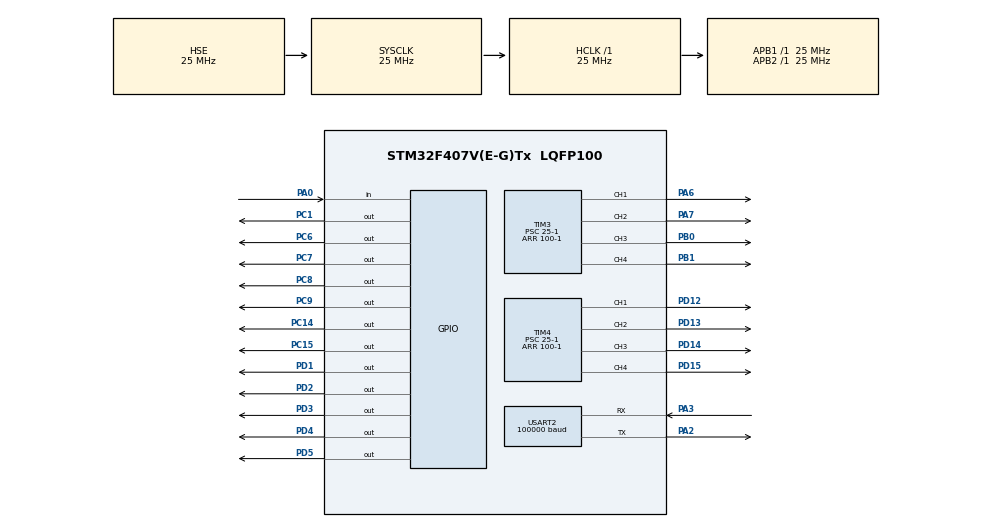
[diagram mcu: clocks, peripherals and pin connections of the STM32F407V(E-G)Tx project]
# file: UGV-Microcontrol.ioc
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Mcu.Family=STM32F4
Mcu.Name=STM32F407V(E-G)Tx
Mcu.Package=LQFP100
NVIC.PriorityGroup=NVIC_PRIORITYGROUP_4
PA0-WKUP.GPIO_PuPd=GPIO_PULLDOWN
PA0-WKUP.Signal=GPIO_Input
PA13.Mode=Serial_Wire
PA13.Signal=SYS_JTMS-SWDIO
PA14.Mode=Serial_Wire
PA14.Signal=SYS_JTCK-SWCLK
PA2.GPIO_PuPd=GPIO_PULLDOWN
PA2.Mode=Asynchronous
PA2.Signal=USART2_TX
PA3.GPIO_PuPd=GPIO_PULLDOWN
PA3.Mode=Asynchronous
PA3.Signal=USART2_RX
PA6.GPIO_ModeDefaultPP=GPIO_MODE_AF_OD
PA6.GPIO_PuPd=GPIO_PULLDOWN
PA6.Signal=S_TIM3_CH1
PA7.GPIO_ModeDefaultPP=GPIO_MODE_AF_OD
PA7.GPIO_PuPd=GPIO_PULLDOWN
PA7.Signal=S_TIM3_CH2
PB0.GPIO_ModeDefaultPP=GPIO_MODE_AF_OD
PB0.GPIO_PuPd=GPIO_PULLDOWN
PB0.Signal=S_TIM3_CH3
PB1.GPIO_ModeDefaultPP=GPIO_MODE_AF_OD
PB1.GPIO_PuPd=GPIO_PULLDOWN
PB1.Signal=S_TIM3_CH4
PC1.GPIO_PuPd=GPIO_PULLDOWN
PC1.Signal=GPIO_Output
PC14-OSC32_IN.GPIO_PuPd=GPIO_PULLDOWN
PC14-OSC32_IN.Signal=GPIO_Output
PC15-OSC32_OUT.GPIO_PuPd=GPIO_PULLDOWN
PC15-OSC32_OUT.Signal=GPIO_Output
PC6.GPIO_ModeDefaultOutputPP=GPIO_MODE_OUTPUT_PP
PC6.GPIO_PuPd=GPIO_PULLDOWN
PC6.Signal=GPIO_Output
PC7.GPIO_ModeDefaultOutputPP=GPIO_MODE_OUTPUT_PP
PC7.GPIO_PuPd=GPIO_PULLDOWN
PC7.Signal=GPIO_Output
PC8.GPIO_ModeDefaultOutputPP=GPIO_MODE_OUTPUT_PP
PC8.GPIO_PuPd=GPIO_PULLDOWN
PC8.Signal=GPIO_Output
PC9.GPIO_ModeDefaultOutputPP=GPIO_MODE_OUTPUT_PP
PC9.GPIO_PuPd=GPIO_PULLDOWN
PC9.Signal=GPIO_Output
PD1.GPIO_ModeDefaultOutputPP=GPIO_MODE_OUTPUT_PP
PD1.GPIO_PuPd=GPIO_PULLDOWN
PD1.Signal=GPIO_Output
PD12.GPIO_ModeDefaultPP=GPIO_MODE_AF_OD
PD12.GPIO_PuPd=GPIO_PULLDOWN
PD12.Signal=S_TIM4_CH1
PD13.GPIO_ModeDefaultPP=GPIO_MODE_AF_OD
PD13.GPIO_PuPd=GPIO_PULLDOWN
PD13.Signal=S_TIM4_CH2
PD14.GPIO_ModeDefaultPP=GPIO_MODE_AF_OD
PD14.GPIO_PuPd=GPIO_PULLDOWN
PD14.Signal=S_TIM4_CH3
PD15.GPIO_ModeDefaultPP=GPIO_MODE_AF_OD
PD15.GPIO_PuPd=GPIO_PULLDOWN
PD15.Signal=S_TIM4_CH4
PD2.GPIO_ModeDefaultOutputPP=GPIO_MODE_OUTPUT_PP
PD2.GPIO_PuPd=GPIO_PULLDOWN
PD2.Signal=GPIO_Output
PD3.GPIO_ModeDefaultOutputPP=GPIO_MODE_OUTPUT_PP
PD3.GPIO_PuPd=GPIO_PULLDOWN
PD3.Signal=GPIO_Output
PD4.GPIO_ModeDefaultOutputPP=GPIO_MODE_OUTPUT_PP
PD4.GPIO_PuPd=GPIO_PULLDOWN
PD4.Signal=GPIO_Output
PD5.GPIO_PuPd=GPIO_PULLDOWN
PD5.Signal=GPIO_Output
PH0-OSC_IN.Mode=HSE-External-Oscillator
PH0-OSC_IN.Signal=RCC_OSC_IN
PH1-OSC_OUT.Mode=HSE-External-Oscillator
PH1-OSC_OUT.Signal=RCC_OSC_OUT
ProjectManager.HeapSize=0x200
ProjectManager.StackSize=0x400
ProjectManager.TargetToolchain=STM32CubeIDE
RCC.48MHZClocksFreq_Value=48000000
RCC.AHBFreq_Value=25000000
RCC.APB1Freq_Value=25000000
RCC.APB1TimFreq_Value=25000000
RCC.APB2Freq_Value=25000000
RCC.APB2TimFreq_Value=25000000
RCC.CortexFreq_Value=25000000
RCC.HCLKFreq_Value=25000000
RCC.HSE_VALUE=25000000
RCC.HSI_VALUE=16000000
RCC.LSE_VALUE=32768
RCC.SYSCLKFreq_VALUE=25000000
RCC.SYSCLKSource=RCC_SYSCLKSOURCE_HSE
RCC.VCOOutputFreq_Value=192000000
SH.S_TIM3_CH1.0=TIM3_CH1,PWM Generation1 CH1
SH.S_TIM3_CH2.0=TIM3_CH2,PWM Generation2 CH2
SH.S_TIM3_CH3.0=TIM3_CH3,PWM Generation3 CH3
SH.S_TIM3_CH4.0=TIM3_CH4,PWM Generation4 CH4
SH.S_TIM4_CH1.0=TIM4_CH1,PWM Generation1 CH1
SH.S_TIM4_CH2.0=TIM4_CH2,PWM Generation2 CH2
SH.S_TIM4_CH3.0=TIM4_CH3,PWM Generation3 CH3
SH.S_TIM4_CH4.0=TIM4_CH4,PWM Generation4 CH4
TIM3.Channel-PWM\ Generation1\ CH1=TIM_CHANNEL_1
TIM3.Channel-PWM\ Generation2\ CH2=TIM_CHANNEL_2
TIM3.Channel-PWM\ Generation3\ CH3=TIM_CHANNEL_3
TIM3.Channel-PWM\ Generation4\ CH4=TIM_CHANNEL_4
TIM3.Period=100-1
TIM3.Prescaler=25-1
TIM3.TIM_MasterOutputTrigger=TIM_TRGO_UPDATE
TIM4.Channel-PWM\ Generation1\ CH1=TIM_CHANNEL_1
TIM4.Channel-PWM\ Generation2\ CH2=TIM_CHANNEL_2
TIM4.Channel-PWM\ Generation3\ CH3=TIM_CHANNEL_3
TIM4.Channel-PWM\ Generation4\ CH4=TIM_CHANNEL_4
TIM4.Period=100-1
TIM4.Prescaler=25-1
TIM4.TIM_MasterOutputTrigger=TIM_TRGO_RESET
USART2.BaudRate=100000
USART2.Mode=MODE_RX
USART2.Parity=PARITY_EVEN
USART2.StopBits=STOPBITS_2
USART2.VirtualMode=VM_ASYNC
VP_CRC_VS_CRC.Mode=CRC_Activate
VP_TIM3_VS_ClockSourceINT.Mode=Internal
VP_TIM4_VS_ClockSourceITR.Mode=TriggerSource_ITR2
VP_TIM4_VS_ControllerModeTrigger.Mode=Trigger Mode
board=custom

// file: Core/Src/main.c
/* USER CODE BEGIN Header */
/**
  ******************************************************************************
  * @file           : main.c
  * @brief          : Main program body
  ******************************************************************************
  * @attention
  *
  * Copyright (c) 2023 STMicroelectronics.
  * All rights reserved.
  *
  * This software is licensed under terms that can be found in the LICENSE file
  * in the root directory of this software component.
  * If no LICENSE file comes with this software, it is provided AS-IS.
  *
  ******************************************************************************
  */
/* USER CODE END Header */
#include "main.h"
#include "crc.h"
#include "tim.h"
#include "usart.h"
#include "gpio.h"

/* USER CODE BEGIN Includes */
#include <string.h>
#include <stdlib.h>

/* USER CODE END Includes */

/* USER CODE BEGIN PTD */
#define SBUS_SIGNAL_OK          0x00
#define SBUS_SIGNAL_LOST        0x01
#define SBUS_SIGNAL_FAILSAFE    0x03
// Define channels to control the car
#define THROTTLE_CHANNEL_INDEX 0
#define STEERING_CHANNEL_INDEX 1
// Define the maximum and minimum values for the SBUS channels (throttle and steering)
//trim ch1: 1481
//trim ch2: 1503
#define SBUS_THROTTLE_MIN  988
#define SBUS_THROTTLE_MAX  1974
#define SBUS_STEERING_MIN  994
#define SBUS_STEERING_MAX  2012
// Define the maximum PWM duty cycle for motor control
#define MAX_PWM_DUTY_CYCLE 100
#define MIN_PWM_DUTY_CYCLE 0
#define THROTTLE_TRIM 9
#define STEERING_TRIM 5
/* USER CODE END PTD */

void SystemClock_Config(void);
/* USER CODE BEGIN PFP */
static void forward_drive(uint32_t rate);
static void backward_drive(uint32_t rate);
static void left_drive(uint32_t rate);
static void right_drive(uint32_t rate);
static void hold_drive();
static void test_drive();
void HAL_UART_RxCpltCallback(UART_HandleTypeDef *huart);
int16_t mapSBUSValue(int16_t sbusValue, int16_t sbusMin, int16_t sbusMax, int16_t minValue, int16_t maxValue);
void controlCarThrottle();
void controlCarSteering();
/* USER CODE END PFP */

/* USER CODE BEGIN 0 */
uint16_t failsafe_status;
uint8_t buf[25];
uint16_t CH[18];
int lenght=0;
uint16_t USB_Send_Data[]={0};
uint16_t count_1=0, count_2=0, count_3=0, count_4=0;

/*
FORWARD: TIM3
right front: TIM3_CH2 -> PA7. EN: PC6
left front: TIM3_CH1  -> PA6. EN: PC7
right back: TIM3_CH4 -> PB1. EN: PC8
left back: TIM3_CH3 -> PB0. EN: PC9
BACKWARD: TIM4
right front: TIM4_CH2 -> PD13. EN: PD1
left front: TIM4_CH1 -> PD12. EN: PD2
right back: TIM4_CH4 -> PD15. EN: PD3
left back: TIM4_CH3 -> PD14. EN: PD4
*/

/* USER CODE END 0 */

int main(void)
{

  /* MCU Configuration--------------------------------------------------------*/

  /* Reset of all peripherals, Initializes the Flash interface and the Systick. */
  HAL_Init();

  /* Configure the system clock */
  SystemClock_Config();

  /* Initialize all configured peripherals */
  MX_GPIO_Init();
  MX_TIM3_Init();
  MX_TIM4_Init();
  MX_CRC_Init();
  MX_USART2_UART_Init();
  /* USER CODE BEGIN 2 */
  HAL_UART_Receive_DMA(&huart2, buf, 25);

  //Press blue button to start the test drive
  GPIOC->ODR &= ~(1<<6 | 1<<7 | 1<<8 | 1<<9);
  GPIOD->ODR &= ~(1<<2 | 1<<3 | 1<<4 | 1<<5);
  while (!(GPIOA->IDR & (1 << 0)));
  GPIOC->ODR |= (1 << 1);
  while (GPIOA->IDR & (1 << 0));
  while(1) {
	  test_drive();
  }

  while(1);

  while(1) {
//	  count++;
	  if (HAL_UART_Receive(&huart2, buf, 25, 100) == HAL_OK) {
		  HAL_UART_RxCpltCallback(&huart2);
	  }
	  if(count_1==1000) {
		  count_1 = 0;
	  }
	  if(count_2==1000) {
		  count_2 = 0;
	  }
	  if(count_3==1000) {
		  count_3 = 0;
	  }
	  if(count_4==1000) {
		  count_4 = 0;
	  }
//	  HAL_UART_RxCpltCallback(&huart2);
	  if(failsafe_status == SBUS_SIGNAL_OK) {
		  count_1++;
		  controlCarThrottle();
//		  controlCarSteering();
	  } else if(failsafe_status == SBUS_SIGNAL_LOST) {
		  hold_drive();
		  count_2++;
	  } else if(failsafe_status == SBUS_SIGNAL_FAILSAFE) {
		  hold_drive();
		  count_3++;
	  }
  }
  /* USER CODE END 2 */

  /* Infinite loop */
  while (1)
  {

  }
}

void SystemClock_Config(void)
{
  RCC_OscInitTypeDef RCC_OscInitStruct = {0};
  RCC_ClkInitTypeDef RCC_ClkInitStruct = {0};

  /** Configure the main internal regulator output voltage
  */
  __HAL_RCC_PWR_CLK_ENABLE();
  __HAL_PWR_VOLTAGESCALING_CONFIG(PWR_REGULATOR_VOLTAGE_SCALE1);

  /** Initializes the RCC Oscillators according to the specified parameters
  * in the RCC_OscInitTypeDef structure.
  */
  RCC_OscInitStruct.OscillatorType = RCC_OSCILLATORTYPE_HSE;
  RCC_OscInitStruct.HSEState = RCC_HSE_ON;
  RCC_OscInitStruct.PLL.PLLState = RCC_PLL_NONE;
  if (HAL_RCC_OscConfig(&RCC_OscInitStruct) != HAL_OK)
  {
    Error_Handler();
  }

  /** Initializes the CPU, AHB and APB buses clocks
  */
  RCC_ClkInitStruct.ClockType = RCC_CLOCKTYPE_HCLK|RCC_CLOCKTYPE_SYSCLK
                              |RCC_CLOCKTYPE_PCLK1|RCC_CLOCKTYPE_PCLK2;
  RCC_ClkInitStruct.SYSCLKSource = RCC_SYSCLKSOURCE_HSE;
  RCC_ClkInitStruct.AHBCLKDivider = RCC_SYSCLK_DIV1;
  RCC_ClkInitStruct.APB1CLKDivider = RCC_HCLK_DIV1;
  RCC_ClkInitStruct.APB2CLKDivider = RCC_HCLK_DIV1;

  if (HAL_RCC_ClockConfig(&RCC_ClkInitStruct, FLASH_LATENCY_0) != HAL_OK)
  {
    Error_Handler();
  }
}

/* USER CODE BEGIN 4 */
static void forward_drive(uint32_t rate) {
	GPIOC->ODR |= 1<<6 | 1<<7 | 1<<8 | 1<<9;
	GPIOD->ODR &= ~(1<<5 | 1<<2 | 1<<3 | 1<<4);
	TIM3->CCR1 = rate;
	TIM3->CCR2 = rate;
	TIM3->CCR3 = rate;
	TIM3->CCR4 = rate;
	HAL_TIM_PWM_Start(&htim3, TIM_CHANNEL_1);
	HAL_TIM_PWM_Start(&htim3, TIM_CHANNEL_2);
	HAL_TIM_PWM_Start(&htim3, TIM_CHANNEL_3);
	HAL_TIM_PWM_Start(&htim3, TIM_CHANNEL_4);
	HAL_TIM_PWM_Stop(&htim4, TIM_CHANNEL_1);
	HAL_TIM_PWM_Stop(&htim4, TIM_CHANNEL_2);
	HAL_TIM_PWM_Stop(&htim4, TIM_CHANNEL_3);
	HAL_TIM_PWM_Stop(&htim4, TIM_CHANNEL_4);
}

static void backward_drive(uint32_t rate) {
	GPIOC->ODR &= ~(1<<6 | 1<<7 | 1<<8 | 1<<9);
	GPIOD->ODR |= 1<<5 | 1<<2 | 1<<3 | 1<<4;
	TIM4->CCR1 = rate;
	TIM4->CCR2 = rate;
	TIM4->CCR3 = rate;
	TIM4->CCR4 = rate;
	HAL_TIM_PWM_Start(&htim4, TIM_CHANNEL_1);
	HAL_TIM_PWM_Start(&htim4, TIM_CHANNEL_2);
	HAL_TIM_PWM_Start(&htim4, TIM_CHANNEL_3);
	HAL_TIM_PWM_Start(&htim4, TIM_CHANNEL_4);
	HAL_TIM_PWM_Stop(&htim3, TIM_CHANNEL_1);
	HAL_TIM_PWM_Stop(&htim3, TIM_CHANNEL_2);
	HAL_TIM_PWM_Stop(&htim3, TIM_CHANNEL_3);
	HAL_TIM_PWM_Stop(&htim3, TIM_CHANNEL_4);
}

static void left_drive(uint32_t rate) {
	GPIOC->ODR &= ~(1<<7 | 1<<9);
	GPIOC->ODR |= 1<<6 | 1<<8;
	GPIOD->ODR &= ~(1<<5 | 1<<3);
	GPIOD->ODR |= 1<<2 | 1<<4;
	TIM3->CCR2 = rate;
	TIM3->CCR4 = rate;
	TIM4->CCR1 = rate;
	TIM4->CCR3 = rate;
	HAL_TIM_PWM_Start(&htim3, TIM_CHANNEL_2);
	HAL_TIM_PWM_Start(&htim3, TIM_CHANNEL_4);
	HAL_TIM_PWM_Start(&htim4, TIM_CHANNEL_1);
	HAL_TIM_PWM_Start(&htim4, TIM_CHANNEL_3);
	HAL_TIM_PWM_Stop(&htim3, TIM_CHANNEL_1);
	HAL_TIM_PWM_Stop(&htim3, TIM_CHANNEL_3);
	HAL_TIM_PWM_Stop(&htim4, TIM_CHANNEL_2);
	HAL_TIM_PWM_Stop(&htim4, TIM_CHANNEL_4);
}

static void right_drive(uint32_t rate) {
	GPIOC->ODR &= ~(1<<6 | 1<<8);
	GPIOC->ODR |= 1<<7 | 1<<9;
	GPIOD->ODR &= ~(1<<2 | 1<<4);
	GPIOD->ODR |= 1<<5 | 1<<3;
	TIM3->CCR1 = rate;
	TIM3->CCR3 = rate;
	TIM4->CCR2 = rate;
	TIM4->CCR4 = rate;
	HAL_TIM_PWM_Start(&htim3, TIM_CHANNEL_1);
	HAL_TIM_PWM_Start(&htim3, TIM_CHANNEL_3);
	HAL_TIM_PWM_Start(&htim4, TIM_CHANNEL_2);
	HAL_TIM_PWM_Start(&htim4, TIM_CHANNEL_4);
	HAL_TIM_PWM_Stop(&htim3, TIM_CHANNEL_2);
	HAL_TIM_PWM_Stop(&htim3, TIM_CHANNEL_4);
	HAL_TIM_PWM_Stop(&htim4, TIM_CHANNEL_1);
	HAL_TIM_PWM_Stop(&htim4, TIM_CHANNEL_3);
}

static void hold_drive() {
	GPIOC->ODR &= ~(1<<6 | 1<<7 | 1<<8 | 1<<9);
	GPIOD->ODR &= ~(1<<5 | 1<<2 | 1<<3 | 1<<4);
	HAL_TIM_PWM_Stop(&htim3, TIM_CHANNEL_1);
	HAL_TIM_PWM_Stop(&htim3, TIM_CHANNEL_2);
	HAL_TIM_PWM_Stop(&htim3, TIM_CHANNEL_3);
	HAL_TIM_PWM_Stop(&htim3, TIM_CHANNEL_4);
	HAL_TIM_PWM_Stop(&htim4, TIM_CHANNEL_1);
	HAL_TIM_PWM_Stop(&htim4, TIM_CHANNEL_2);
	HAL_TIM_PWM_Stop(&htim4, TIM_CHANNEL_3);
	HAL_TIM_PWM_Stop(&htim4, TIM_CHANNEL_4);
}

void HAL_UART_RxCpltCallback(UART_HandleTypeDef *huart)
{

	if (buf[0] == 0x0F) {
//	if (1) {
		count_4++;
		CH[0] = (buf[1] >> 0 | (buf[2] << 8)) & 0x07FF;
		CH[1] = (buf[2] >> 3 | (buf[3] << 5)) & 0x07FF;
		CH[2] = (buf[3] >> 6 | (buf[4] << 2) | buf[5] << 10) & 0x07FF;
		CH[3] = (buf[5] >> 1 | (buf[6] << 7)) & 0x07FF;
		CH[4] = (buf[6] >> 4 | (buf[7] << 4)) & 0x07FF;
		CH[5] = (buf[7] >> 7 | (buf[8] << 1) | buf[9] << 9) & 0x07FF;
		CH[6] = (buf[9] >> 2 | (buf[10] << 6)) & 0x07FF;
		CH[7] = (buf[10] >> 5 | (buf[11] << 3)) & 0x07FF;
		CH[8] = (buf[12] << 0 | (buf[13] << 8)) & 0x07FF;
		CH[9] = (buf[13] >> 3 | (buf[14] << 5)) & 0x07FF;
		CH[10] = (buf[14] >> 6 | (buf[15] << 2) | buf[16] << 10) & 0x07FF;
		CH[11] = (buf[16] >> 1 | (buf[17] << 7)) & 0x07FF;
		CH[12] = (buf[17] >> 4 | (buf[18] << 4)) & 0x07FF;
		CH[13] = (buf[18] >> 7 | (buf[19] << 1) | buf[20] << 9) & 0x07FF;
		CH[14] = (buf[20] >> 2 | (buf[21] << 6)) & 0x07FF;
		CH[15] = (buf[21] >> 5 | (buf[22] << 3)) & 0x07FF;

		if (buf[23] & (1 << 0)) {
			CH[16] = 1;
		} else {
			CH[16] = 0;
		}

		if (buf[23] & (1 << 1)) {
			CH[17] = 1;
		} else {
			CH[17] = 0;
		}

		// Failsafe
		failsafe_status = SBUS_SIGNAL_OK;
		if (buf[23] & (1 << 2)) {
			failsafe_status = SBUS_SIGNAL_LOST;
		}

		if (buf[23] & (1 << 3)) {
			failsafe_status = SBUS_SIGNAL_FAILSAFE;
		}

		//	SBUS_footer=buf[24];

	}
}
// Function to map the received SBUS values to the desired range
int16_t mapSBUSValue(int16_t sbusValue, int16_t sbusMin, int16_t sbusMax, int16_t minValue, int16_t maxValue) {
    return (int32_t)(((float)(sbusValue - sbusMin) / (sbusMax - sbusMin)) * (maxValue - minValue) + minValue);
}
// Function to control the car's speed proportional to the throttle value received from channel
void controlCarThrottle() {
    int32_t throttleValue = mapSBUSValue(CH[THROTTLE_CHANNEL_INDEX], SBUS_THROTTLE_MIN, SBUS_THROTTLE_MAX, -MAX_PWM_DUTY_CYCLE, MAX_PWM_DUTY_CYCLE);
    if(throttleValue >= -MAX_PWM_DUTY_CYCLE && throttleValue <= MAX_PWM_DUTY_CYCLE ) {
    	if(throttleValue > THROTTLE_TRIM) {
    		forward_drive(throttleValue);
    	} else if(throttleValue < -THROTTLE_TRIM) {
    		backward_drive(abs(throttleValue));
    	} else {
    		hold_drive();
    	}
    }
}

// Function to control the car's steering based on the value received from channel
void controlCarSteering() {
    int32_t steeringValue = mapSBUSValue(CH[STEERING_CHANNEL_INDEX], SBUS_STEERING_MIN, SBUS_STEERING_MAX, -MAX_PWM_DUTY_CYCLE, MAX_PWM_DUTY_CYCLE);
    if(steeringValue >= -MAX_PWM_DUTY_CYCLE && steeringValue <= MAX_PWM_DUTY_CYCLE ) {
    	if(steeringValue > STEERING_TRIM) {
    		right_drive(steeringValue);
    	} else if(steeringValue < -STEERING_TRIM) {
    		left_drive(abs(steeringValue));
    	} else {
    		// nothing
    	}
    }
}

static void test_drive() {
	for(int i = 0; i < 100; i ++) {
		forward_drive(50);
		HAL_Delay(100);
	}
//	for(int i = 100; i > 0; i --) {
//		forward_drive(i);
//		HAL_Delay(100);
//	}
//	for(int i = 0; i < 100; i ++) {
//		backward_drive(i);
//		HAL_Delay(100);
//	}
//	for(int i = 100; i > 0; i --) {
//		backward_drive(i);
//		HAL_Delay(100);
//	}
}
/* USER CODE END 4 */

void Error_Handler(void)
{
  __disable_irq();
  while (1)
  {
  }
}
